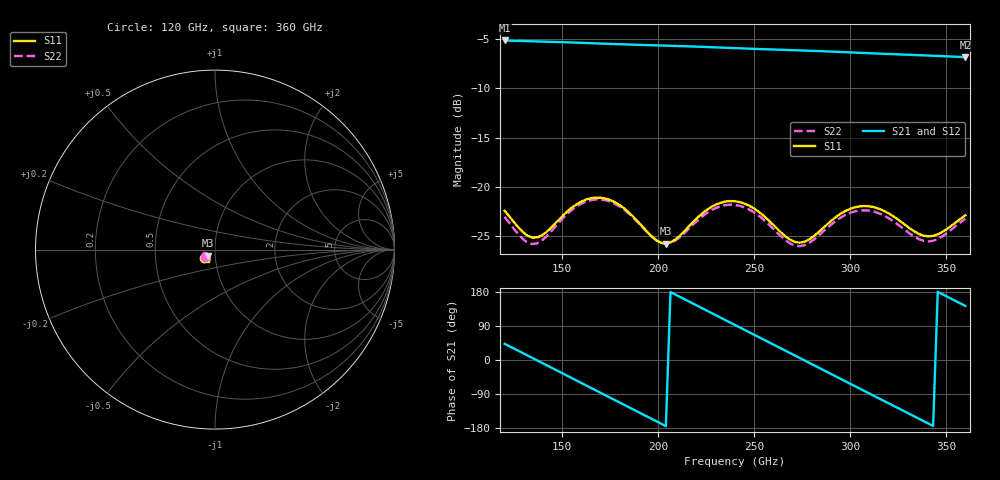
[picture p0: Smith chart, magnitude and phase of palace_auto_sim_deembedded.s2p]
! Created with skrf 1.11.0 (http://scikit-rf.org).
# GHz S DB R 50.0
!freq dBS11 angS11 dBS21 angS21 dBS12 angS12 dBS22 angS22
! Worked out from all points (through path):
!   101 points, 120 GHz to 360 GHz, reference 50 ohm
!   highest |S21| = -5.12 dB at 120 GHz (marker M1); lowest = -6.8 dB at 360 GHz (marker M2)
!   group delay of S21, straight-line fit = 7.18 ps
!   lowest |S11| = -25.8 dB at 204 GHz (marker M3), VSWR 1.11, Z = 46.2 - j3.14 ohm
!   |S11| at or under -10 dB: start of sweep to end of sweep
!   |S22| runs from -26.0 to -21.3 dB; largest |S21 - S12| = 8.2e-13
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120  -22.44 -142.2  -5.12 42.7  -5.12 42.7  -23.06 -144.6
132  -24.98 -135.5  -5.19 11.8  -5.19 11.8  -25.69 -136.3
139.2  -24.98 -124.5  -5.23 -6.8  -5.23 -6.8  -25.50 -124.3
148.8  -23.23 -118.5  -5.29 -31.7  -5.29 -31.7  -23.53 -119.0
160.8  -21.43 -126.5  -5.37 -62.8  -5.37 -62.8  -21.64 -128.1
170.4  -21.12 -137.5  -5.44 -87.6  -5.44 -87.6  -21.30 -139.7
180  -21.87 -147.8  -5.50 -112.4  -5.50 -112.4  -22.02 -150.4
192  -24.10 -152.4  -5.58 -143.4  -5.58 -143.4  -24.16 -155.8
201.6  -25.70 -142.7  -5.63 -168.2  -5.63 -168.2  -25.72 -147.4
204  -25.77 -138.7  -5.65 -174.5  -5.65 -174.5  -25.81 -143.9
220.8  -23.09 -126.5  -5.75 142.0  -5.75 142.0  -23.37 -132.7
230.4  -21.78 -133.3  -5.82 117.2  -5.82 117.2  -22.13 -139.5
240  -21.48 -143.2  -5.90 92.3  -5.90 92.3  -21.85 -149.4
249.6  -22.17 -152.3  -5.97 67.6  -5.97 67.6  -22.56 -158.5
261.6  -24.20 -155.8  -6.05 36.6  -6.05 36.6  -24.59 -162.1
271.2  -25.61 -146.8  -6.11 11.8  -6.11 11.8  -25.98 -153.2
280.8  -25.06 -134.1  -6.18 -13.0  -6.18 -13.0  -25.41 -141.0
302.4  -22.10 -138.3  -6.35 -68.9  -6.35 -68.9  -22.51 -145.8
312  -22.06 -146.4  -6.43 -93.6  -6.43 -93.6  -22.51 -154.1
321.6  -22.89 -152.4  -6.51 -118.4  -6.51 -118.4  -23.39 -160.1
340.8  -25.05 -143.5  -6.66 -167.9  -6.66 -167.9  -25.56 -150.4
360  -22.91 -133.6  -6.82 142.6  -6.82 142.6  -23.24 -140.6
